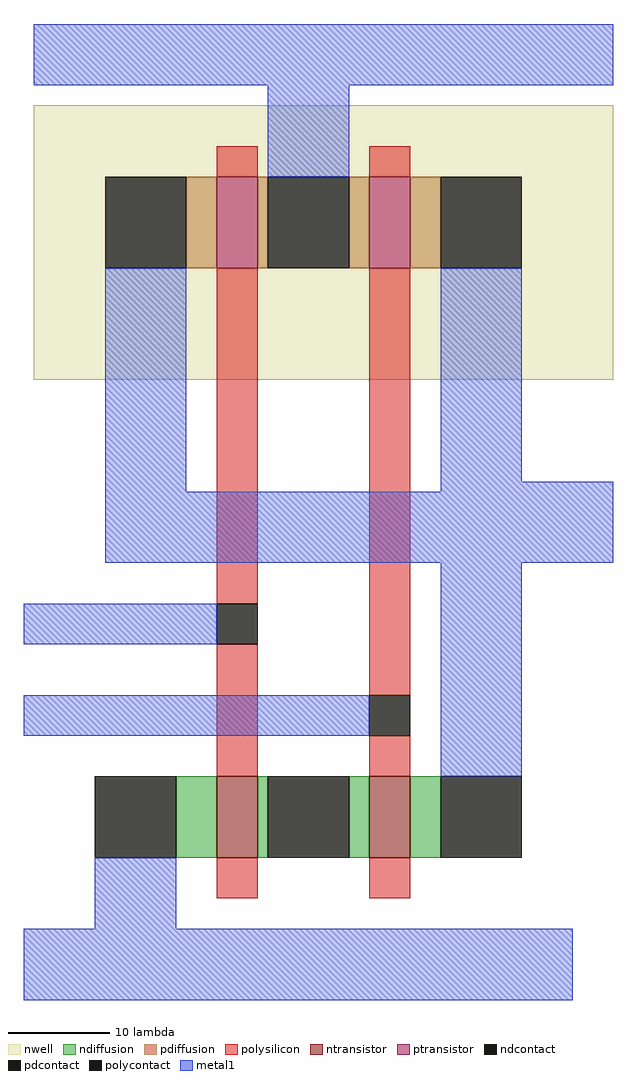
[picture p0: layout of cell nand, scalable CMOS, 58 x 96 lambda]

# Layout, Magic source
magic
tech scmos
<< nwell >>
rect -27 -3 30 24
<< ntransistor >>
rect -9 -50 -5 -42
rect 6 -50 10 -42
<< ptransistor >>
rect -9 8 -5 17
rect 6 8 10 17
<< ndiffusion >>
rect -13 -50 -9 -42
rect -5 -50 -4 -42
rect 4 -50 6 -42
rect 10 -50 13 -42
<< pdiffusion >>
rect -12 8 -9 17
rect -5 8 -4 17
rect 4 8 6 17
rect 10 8 13 17
<< ndcontact >>
rect -21 -50 -13 -42
rect -4 -50 4 -42
rect 13 -50 21 -42
<< pdcontact >>
rect -20 8 -12 17
rect -4 8 4 17
rect 13 8 21 17
<< polysilicon >>
rect -9 17 -5 20
rect 6 17 10 20
rect -9 -25 -5 8
rect -9 -42 -5 -29
rect 6 -34 10 8
rect 6 -42 10 -38
rect -9 -54 -5 -50
rect 6 -54 10 -50
<< polycontact >>
rect -9 -29 -5 -25
rect 6 -38 10 -34
<< metal1 >>
rect -27 26 30 32
rect -4 17 4 26
rect -20 -14 -12 8
rect 13 -13 21 8
rect 13 -14 30 -13
rect -20 -21 30 -14
rect -28 -29 -9 -25
rect -28 -38 6 -34
rect 13 -42 21 -21
rect -21 -57 -13 -50
rect -28 -64 26 -57
<< end >>
